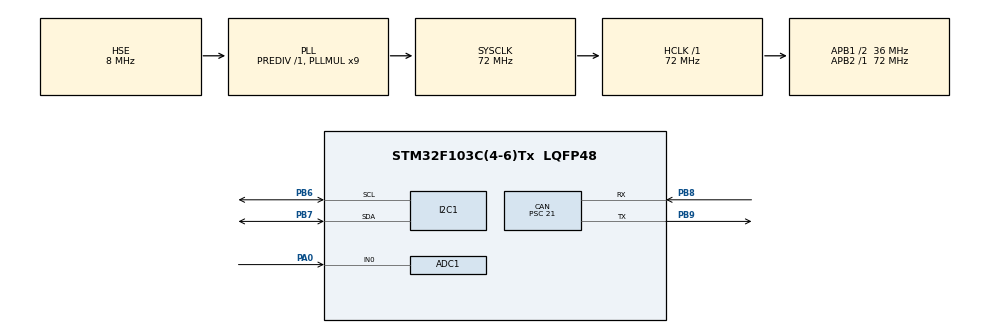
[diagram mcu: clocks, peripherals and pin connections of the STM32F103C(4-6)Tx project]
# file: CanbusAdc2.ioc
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ADC1.Channel-0\#ChannelRegularConversion=ADC_CHANNEL_0
ADC1.ContinuousConvMode=ENABLE
ADC1.NbrOfConversionFlag=1
ADC1.Rank-0\#ChannelRegularConversion=1
ADC1.SamplingTime-0\#ChannelRegularConversion=ADC_SAMPLETIME_1CYCLE_5
ADC1.master=1
CAN.BS1=CAN_BS1_12TQ
CAN.BS2=CAN_BS2_4TQ
CAN.CalculateBaudRate=100840
CAN.CalculateTimeBit=9916
CAN.CalculateTimeQuantum=583.3333333333334
CAN.Prescaler=21
Mcu.Family=STM32F1
Mcu.Name=STM32F103C(4-6)Tx
Mcu.Package=LQFP48
NVIC.PriorityGroup=NVIC_PRIORITYGROUP_4
NVIC.USB_LP_CAN1_RX0_IRQn=true\:0\:0\:false\:false\:true\:true\:true\:true
PA0-WKUP.Signal=ADCx_IN0
PA13.Mode=Serial_Wire
PA13.Signal=SYS_JTMS-SWDIO
PA14.Mode=Serial_Wire
PA14.Signal=SYS_JTCK-SWCLK
PB6.Mode=I2C
PB6.Signal=I2C1_SCL
PB7.Mode=I2C
PB7.Signal=I2C1_SDA
PB8.Mode=CAN_Activate
PB8.Signal=CAN_RX
PB9.Mode=CAN_Activate
PB9.Signal=CAN_TX
PD0-OSC_IN.Mode=HSE-External-Oscillator
PD0-OSC_IN.Signal=RCC_OSC_IN
PD1-OSC_OUT.Mode=HSE-External-Oscillator
PD1-OSC_OUT.Signal=RCC_OSC_OUT
ProjectManager.HeapSize=0x200
ProjectManager.StackSize=0x400
ProjectManager.TargetToolchain=STM32CubeIDE
RCC.ADCPresc=RCC_ADCPCLK2_DIV6
RCC.AHBFreq_Value=72000000
RCC.APB1CLKDivider=RCC_HCLK_DIV2
RCC.APB1Freq_Value=36000000
RCC.APB1TimFreq_Value=72000000
RCC.APB2Freq_Value=72000000
RCC.APB2TimFreq_Value=72000000
RCC.HCLKFreq_Value=72000000
RCC.PLLMUL=RCC_PLL_MUL9
RCC.PLLSourceVirtual=RCC_PLLSOURCE_HSE
RCC.SYSCLKFreq_VALUE=72000000
RCC.SYSCLKSource=RCC_SYSCLKSOURCE_PLLCLK
RCC.USBFreq_Value=72000000
SH.ADCx_IN0.0=ADC1_IN0,IN0
board=custom

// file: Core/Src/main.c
/* USER CODE BEGIN Header */
/**
  ******************************************************************************
  * @file           : main.c
  * @brief          : Main program body
  ******************************************************************************
  * @attention
  *
  * Copyright (c) 2024 STMicroelectronics.
  * All rights reserved.
  *
  * This software is licensed under terms that can be found in the LICENSE file
  * in the root directory of this software component.
  * If no LICENSE file comes with this software, it is provided AS-IS.
  *
  ******************************************************************************
  */
/* USER CODE END Header */
#include "main.h"

/* USER CODE BEGIN Includes */

#include "i2c-lcd.h"

/* USER CODE END Includes */

ADC_HandleTypeDef hadc1;

CAN_HandleTypeDef hcan;

I2C_HandleTypeDef hi2c1;

/* USER CODE BEGIN PV */

uint8_t receive;

CAN_TxHeaderTypeDef pHeader;
CAN_RxHeaderTypeDef pRxHeader;
CAN_FilterTypeDef sFilterConfig;

/* USER CODE END PV */

void SystemClock_Config(void);
static void MX_GPIO_Init(void);
static void MX_ADC1_Init(void);
static void MX_CAN_Init(void);
static void MX_I2C1_Init(void);

int main(void)
{

  /* MCU Configuration--------------------------------------------------------*/

  /* Reset of all peripherals, Initializes the Flash interface and the Systick. */
  HAL_Init();

  /* Configure the system clock */
  SystemClock_Config();

  /* Initialize all configured peripherals */
  MX_GPIO_Init();
  MX_ADC1_Init();
  MX_CAN_Init();
  MX_I2C1_Init();
  /* USER CODE BEGIN 2 */
  //Set filter
  	pHeader.DLC = 1;
  	pHeader.IDE = CAN_ID_STD;
  	pHeader.RTR = CAN_RTR_DATA;
  	pHeader.StdId = 0x0156;

  	sFilterConfig.FilterActivation = ENABLE;
  	sFilterConfig.FilterBank = 0;
  	sFilterConfig.FilterFIFOAssignment = CAN_FilterFIFO0;
  	sFilterConfig.FilterIdHigh = 0x0000;
  	sFilterConfig.FilterIdLow = 0x0000;
  	sFilterConfig.FilterMaskIdHigh = 0x0000;
  	sFilterConfig.FilterMaskIdLow = 0x0000;
  	sFilterConfig.FilterMode = CAN_FILTERMODE_IDMASK;
  	sFilterConfig.FilterScale = CAN_FILTERSCALE_16BIT;

  	HAL_CAN_ConfigFilter(&hcan, &sFilterConfig);

  HAL_CAN_Start(&hcan);

  HAL_CAN_ActivateNotification(&hcan, CAN_IT_RX_FIFO0_MSG_PENDING);

  lcd_init();

  lcd_send_data("CAN BUS");
  HAL_Delay(200);

  /* USER CODE END 2 */

  /* Infinite loop */
  while (1)
  {

  }
}

void SystemClock_Config(void)
{
  RCC_OscInitTypeDef RCC_OscInitStruct = {0};
  RCC_ClkInitTypeDef RCC_ClkInitStruct = {0};
  RCC_PeriphCLKInitTypeDef PeriphClkInit = {0};

  /** Initializes the RCC Oscillators according to the specified parameters
  * in the RCC_OscInitTypeDef structure.
  */
  RCC_OscInitStruct.OscillatorType = RCC_OSCILLATORTYPE_HSE;
  RCC_OscInitStruct.HSEState = RCC_HSE_ON;
  RCC_OscInitStruct.HSEPredivValue = RCC_HSE_PREDIV_DIV1;
  RCC_OscInitStruct.HSIState = RCC_HSI_ON;
  RCC_OscInitStruct.PLL.PLLState = RCC_PLL_ON;
  RCC_OscInitStruct.PLL.PLLSource = RCC_PLLSOURCE_HSE;
  RCC_OscInitStruct.PLL.PLLMUL = RCC_PLL_MUL9;
  if (HAL_RCC_OscConfig(&RCC_OscInitStruct) != HAL_OK)
  {
    Error_Handler();
  }

  /** Initializes the CPU, AHB and APB buses clocks
  */
  RCC_ClkInitStruct.ClockType = RCC_CLOCKTYPE_HCLK|RCC_CLOCKTYPE_SYSCLK
                              |RCC_CLOCKTYPE_PCLK1|RCC_CLOCKTYPE_PCLK2;
  RCC_ClkInitStruct.SYSCLKSource = RCC_SYSCLKSOURCE_PLLCLK;
  RCC_ClkInitStruct.AHBCLKDivider = RCC_SYSCLK_DIV1;
  RCC_ClkInitStruct.APB1CLKDivider = RCC_HCLK_DIV2;
  RCC_ClkInitStruct.APB2CLKDivider = RCC_HCLK_DIV1;

  if (HAL_RCC_ClockConfig(&RCC_ClkInitStruct, FLASH_LATENCY_2) != HAL_OK)
  {
    Error_Handler();
  }
  PeriphClkInit.PeriphClockSelection = RCC_PERIPHCLK_ADC;
  PeriphClkInit.AdcClockSelection = RCC_ADCPCLK2_DIV6;
  if (HAL_RCCEx_PeriphCLKConfig(&PeriphClkInit) != HAL_OK)
  {
    Error_Handler();
  }
}

static void MX_ADC1_Init(void)
{

  ADC_ChannelConfTypeDef sConfig = {0};

  /** Common config
  */
  hadc1.Instance = ADC1;
  hadc1.Init.ScanConvMode = ADC_SCAN_DISABLE;
  hadc1.Init.ContinuousConvMode = ENABLE;
  hadc1.Init.DiscontinuousConvMode = DISABLE;
  hadc1.Init.ExternalTrigConv = ADC_SOFTWARE_START;
  hadc1.Init.DataAlign = ADC_DATAALIGN_RIGHT;
  hadc1.Init.NbrOfConversion = 1;
  if (HAL_ADC_Init(&hadc1) != HAL_OK)
  {
    Error_Handler();
  }

  /** Configure Regular Channel
  */
  sConfig.Channel = ADC_CHANNEL_0;
  sConfig.Rank = ADC_REGULAR_RANK_1;
  sConfig.SamplingTime = ADC_SAMPLETIME_1CYCLE_5;
  if (HAL_ADC_ConfigChannel(&hadc1, &sConfig) != HAL_OK)
  {
    Error_Handler();
  }

}

static void MX_CAN_Init(void)
{

  hcan.Instance = CAN1;
  hcan.Init.Prescaler = 21;
  hcan.Init.Mode = CAN_MODE_NORMAL;
  hcan.Init.SyncJumpWidth = CAN_SJW_1TQ;
  hcan.Init.TimeSeg1 = CAN_BS1_12TQ;
  hcan.Init.TimeSeg2 = CAN_BS2_4TQ;
  hcan.Init.TimeTriggeredMode = DISABLE;
  hcan.Init.AutoBusOff = DISABLE;
  hcan.Init.AutoWakeUp = DISABLE;
  hcan.Init.AutoRetransmission = DISABLE;
  hcan.Init.ReceiveFifoLocked = DISABLE;
  hcan.Init.TransmitFifoPriority = DISABLE;
  if (HAL_CAN_Init(&hcan) != HAL_OK)
  {
    Error_Handler();
  }

}

static void MX_I2C1_Init(void)
{

  hi2c1.Instance = I2C1;
  hi2c1.Init.ClockSpeed = 100000;
  hi2c1.Init.DutyCycle = I2C_DUTYCYCLE_2;
  hi2c1.Init.OwnAddress1 = 0;
  hi2c1.Init.AddressingMode = I2C_ADDRESSINGMODE_7BIT;
  hi2c1.Init.DualAddressMode = I2C_DUALADDRESS_DISABLE;
  hi2c1.Init.OwnAddress2 = 0;
  hi2c1.Init.GeneralCallMode = I2C_GENERALCALL_DISABLE;
  hi2c1.Init.NoStretchMode = I2C_NOSTRETCH_DISABLE;
  if (HAL_I2C_Init(&hi2c1) != HAL_OK)
  {
    Error_Handler();
  }

}

static void MX_GPIO_Init(void)
{

  /* GPIO Ports Clock Enable */
  __HAL_RCC_GPIOD_CLK_ENABLE();
  __HAL_RCC_GPIOA_CLK_ENABLE();
  __HAL_RCC_GPIOB_CLK_ENABLE();

}

void Error_Handler(void)
{
  __disable_irq();
  while (1)
  {
  }
}
